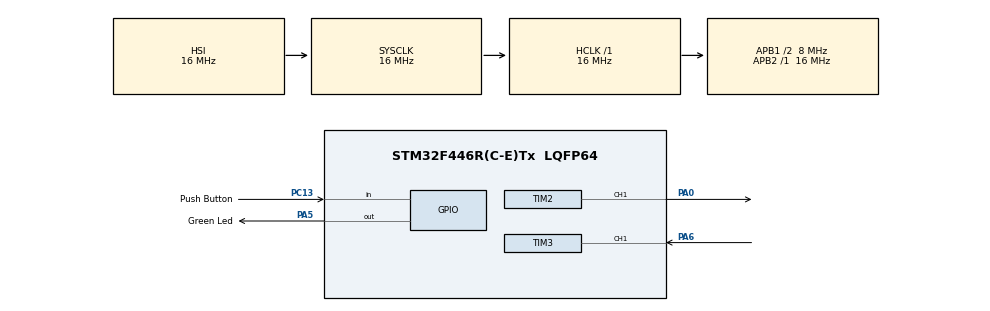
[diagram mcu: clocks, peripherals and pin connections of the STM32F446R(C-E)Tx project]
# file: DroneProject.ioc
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Mcu.Family=STM32F4
Mcu.Name=STM32F446R(C-E)Tx
Mcu.Package=LQFP64
NVIC.PriorityGroup=NVIC_PRIORITYGROUP_0
NVIC.TIM3_IRQn=true\:0\:0\:false\:false\:true\:true\:true\:true
PA0-WKUP.Signal=S_TIM2_CH1_ETR
PA5.GPIO_Label=Green Led
PA5.Signal=GPIO_Output
PA6.Signal=S_TIM3_CH1
PC13.GPIO_Label=Push Button
PC13.Signal=GPIO_Input
ProjectManager.HeapSize=0x200
ProjectManager.StackSize=0x400
ProjectManager.TargetToolchain=STM32CubeIDE
RCC.48MHZClocksFreq_Value=84000000
RCC.AHBFreq_Value=16000000
RCC.APB1CLKDivider=RCC_HCLK_DIV2
RCC.APB1Freq_Value=8000000
RCC.APB1TimFreq_Value=16000000
RCC.APB2Freq_Value=16000000
RCC.APB2TimFreq_Value=16000000
RCC.CortexFreq_Value=16000000
RCC.FLatency-AdvancedSettings=FLASH_LATENCY_0
RCC.HCLKFreq_Value=16000000
RCC.HSE_VALUE=8000000
RCC.HSI_VALUE=16000000
RCC.PLLN=336
RCC.PLLP=RCC_PLLP_DIV4
RCC.SYSCLKFreq_VALUE=16000000
RCC.USBFreq_Value=168000000
RCC.VCOOutputFreq_Value=336000000
SH.S_TIM2_CH1_ETR.0=TIM2_CH1,PWM Generation1 CH1
SH.S_TIM3_CH1.0=TIM3_CH1,PWM_Input_1
TIM2.Channel-PWM\ Generation1\ CH1=TIM_CHANNEL_1
TIM2.Period=9999
TIM2.Prescaler=32-1
VP_TIM2_VS_ClockSourceINT.Mode=Internal
VP_TIM3_VS_ClockSourceINT.Mode=Internal
board=NUCLEO-F446RE

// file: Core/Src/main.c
/* USER CODE BEGIN Header */
/**
  ******************************************************************************
  * @file           : main.c
  * @brief          : Main program body
  ******************************************************************************
  * @attention
  *
  * Copyright (c) 2024 STMicroelectronics.
  * All rights reserved.
  *
  * This software is licensed under terms that can be found in the LICENSE file
  * in the root directory of this software component.
  * If no LICENSE file comes with this software, it is provided AS-IS.
  *
  ******************************************************************************
  */
/* USER CODE END Header */
#include "main.h"

TIM_HandleTypeDef htim2;
TIM_HandleTypeDef htim3;

void SystemClock_Config(void);
static void MX_GPIO_Init(void);
static void MX_TIM2_Init(void);
static void MX_TIM3_Init(void);

/* USER CODE BEGIN 0 */
int ICValue = 0;
float duty = 0;
void HAL_TIM_IC_CaptureCallback(TIM_HandleTypeDef *htim)
{
	if(htim->Channel == HAL_TIM_ACTIVE_CHANNEL_1)
	{
		ICValue = HAL_TIM_ReadCapturedValue(htim, TIM_CHANNEL_1);
		if(ICValue != 0)
		{
			duty = float(HAL_TIM_ReadCapturedValue(htim, TIM_CHANNEL_2))/ICValue;
		}
	}
}

/* USER CODE END 0 */

int main(void)
{

  /* MCU Configuration--------------------------------------------------------*/

  /* Reset of all peripherals, Initializes the Flash interface and the Systick. */
  HAL_Init();

  /* Configure the system clock */
  SystemClock_Config();

  /* Initialize all configured peripherals */
  MX_GPIO_Init();
  MX_TIM2_Init();
  MX_TIM3_Init();
  /* USER CODE BEGIN 2 */
HAL_TIM_IC_Start_IT(&htim3, TIM_CHANNEL_1);
HAL_TIM_IC_Start(&htim3, TIM_CHANNEL_2);

HAL_TIM_PWM_Start(&htim2, TIM_CHANNEL_1);
int pulse = 0;
  /* USER CODE END 2 */

  /* Infinite loop */
  while (1)
  {

    /* USER CODE BEGIN 3 */
	  __HAL_TIM_SET_COMPARE(&htim2, TIM_CHANNEL_1, duty * 10000);
	  if(HAL_GPIO_ReadPin(Push_Button_GPIO_Port, Push_Button_Pin == SET))
	  {
		  HAL_GPIO_WritePin(Green_Led_GPIO_Port, Green_Led_Pin, SET);

	  }
	  else
	  {
		  HAL_GPIO_WritePin(Green_Led_GPIO_Port, Green_Led_Pin, RESET);
	  }

  }
  /* USER CODE END 3 */
}

void SystemClock_Config(void)
{
  RCC_OscInitTypeDef RCC_OscInitStruct = {0};
  RCC_ClkInitTypeDef RCC_ClkInitStruct = {0};

  /** Configure the main internal regulator output voltage
  */
  __HAL_RCC_PWR_CLK_ENABLE();
  __HAL_PWR_VOLTAGESCALING_CONFIG(PWR_REGULATOR_VOLTAGE_SCALE3);

  /** Initializes the RCC Oscillators according to the specified parameters
  * in the RCC_OscInitTypeDef structure.
  */
  RCC_OscInitStruct.OscillatorType = RCC_OSCILLATORTYPE_HSI;
  RCC_OscInitStruct.HSIState = RCC_HSI_ON;
  RCC_OscInitStruct.HSICalibrationValue = RCC_HSICALIBRATION_DEFAULT;
  RCC_OscInitStruct.PLL.PLLState = RCC_PLL_NONE;
  if (HAL_RCC_OscConfig(&RCC_OscInitStruct) != HAL_OK)
  {
    Error_Handler();
  }

  /** Initializes the CPU, AHB and APB buses clocks
  */
  RCC_ClkInitStruct.ClockType = RCC_CLOCKTYPE_HCLK|RCC_CLOCKTYPE_SYSCLK
                              |RCC_CLOCKTYPE_PCLK1|RCC_CLOCKTYPE_PCLK2;
  RCC_ClkInitStruct.SYSCLKSource = RCC_SYSCLKSOURCE_HSI;
  RCC_ClkInitStruct.AHBCLKDivider = RCC_SYSCLK_DIV1;
  RCC_ClkInitStruct.APB1CLKDivider = RCC_HCLK_DIV2;
  RCC_ClkInitStruct.APB2CLKDivider = RCC_HCLK_DIV1;

  if (HAL_RCC_ClockConfig(&RCC_ClkInitStruct, FLASH_LATENCY_0) != HAL_OK)
  {
    Error_Handler();
  }
}

static void MX_TIM2_Init(void)
{

  TIM_ClockConfigTypeDef sClockSourceConfig = {0};
  TIM_MasterConfigTypeDef sMasterConfig = {0};
  TIM_OC_InitTypeDef sConfigOC = {0};

  htim2.Instance = TIM2;
  htim2.Init.Prescaler = 32-1;
  htim2.Init.CounterMode = TIM_COUNTERMODE_UP;
  htim2.Init.Period = 9999;
  htim2.Init.ClockDivision = TIM_CLOCKDIVISION_DIV1;
  htim2.Init.AutoReloadPreload = TIM_AUTORELOAD_PRELOAD_DISABLE;
  if (HAL_TIM_Base_Init(&htim2) != HAL_OK)
  {
    Error_Handler();
  }
  sClockSourceConfig.ClockSource = TIM_CLOCKSOURCE_INTERNAL;
  if (HAL_TIM_ConfigClockSource(&htim2, &sClockSourceConfig) != HAL_OK)
  {
    Error_Handler();
  }
  if (HAL_TIM_PWM_Init(&htim2) != HAL_OK)
  {
    Error_Handler();
  }
  sMasterConfig.MasterOutputTrigger = TIM_TRGO_RESET;
  sMasterConfig.MasterSlaveMode = TIM_MASTERSLAVEMODE_DISABLE;
  if (HAL_TIMEx_MasterConfigSynchronization(&htim2, &sMasterConfig) != HAL_OK)
  {
    Error_Handler();
  }
  sConfigOC.OCMode = TIM_OCMODE_PWM1;
  sConfigOC.Pulse = 0;
  sConfigOC.OCPolarity = TIM_OCPOLARITY_HIGH;
  sConfigOC.OCFastMode = TIM_OCFAST_DISABLE;
  if (HAL_TIM_PWM_ConfigChannel(&htim2, &sConfigOC, TIM_CHANNEL_1) != HAL_OK)
  {
    Error_Handler();
  }
  HAL_TIM_MspPostInit(&htim2);

}

static void MX_TIM3_Init(void)
{

  TIM_ClockConfigTypeDef sClockSourceConfig = {0};
  TIM_SlaveConfigTypeDef sSlaveConfig = {0};
  TIM_IC_InitTypeDef sConfigIC = {0};
  TIM_MasterConfigTypeDef sMasterConfig = {0};

  htim3.Instance = TIM3;
  htim3.Init.Prescaler = 0;
  htim3.Init.CounterMode = TIM_COUNTERMODE_UP;
  htim3.Init.Period = 65535;
  htim3.Init.ClockDivision = TIM_CLOCKDIVISION_DIV1;
  htim3.Init.AutoReloadPreload = TIM_AUTORELOAD_PRELOAD_DISABLE;
  if (HAL_TIM_Base_Init(&htim3) != HAL_OK)
  {
    Error_Handler();
  }
  sClockSourceConfig.ClockSource = TIM_CLOCKSOURCE_INTERNAL;
  if (HAL_TIM_ConfigClockSource(&htim3, &sClockSourceConfig) != HAL_OK)
  {
    Error_Handler();
  }
  if (HAL_TIM_IC_Init(&htim3) != HAL_OK)
  {
    Error_Handler();
  }
  sSlaveConfig.SlaveMode = TIM_SLAVEMODE_RESET;
  sSlaveConfig.InputTrigger = TIM_TS_TI1FP1;
  sSlaveConfig.TriggerPolarity = TIM_INPUTCHANNELPOLARITY_RISING;
  sSlaveConfig.TriggerPrescaler = TIM_ICPSC_DIV1;
  sSlaveConfig.TriggerFilter = 0;
  if (HAL_TIM_SlaveConfigSynchro(&htim3, &sSlaveConfig) != HAL_OK)
  {
    Error_Handler();
  }
  sConfigIC.ICPolarity = TIM_INPUTCHANNELPOLARITY_RISING;
  sConfigIC.ICSelection = TIM_ICSELECTION_DIRECTTI;
  sConfigIC.ICPrescaler = TIM_ICPSC_DIV8;
  sConfigIC.ICFilter = 0;
  if (HAL_TIM_IC_ConfigChannel(&htim3, &sConfigIC, TIM_CHANNEL_1) != HAL_OK)
  {
    Error_Handler();
  }
  sConfigIC.ICPolarity = TIM_INPUTCHANNELPOLARITY_FALLING;
  sConfigIC.ICSelection = TIM_ICSELECTION_INDIRECTTI;
  if (HAL_TIM_IC_ConfigChannel(&htim3, &sConfigIC, TIM_CHANNEL_2) != HAL_OK)
  {
    Error_Handler();
  }
  sMasterConfig.MasterOutputTrigger = TIM_TRGO_RESET;
  sMasterConfig.MasterSlaveMode = TIM_MASTERSLAVEMODE_DISABLE;
  if (HAL_TIMEx_MasterConfigSynchronization(&htim3, &sMasterConfig) != HAL_OK)
  {
    Error_Handler();
  }

}

static void MX_GPIO_Init(void)
{
  GPIO_InitTypeDef GPIO_InitStruct = {0};

  /* GPIO Ports Clock Enable */
  __HAL_RCC_GPIOC_CLK_ENABLE();
  __HAL_RCC_GPIOA_CLK_ENABLE();

  /*Configure GPIO pin Output Level */
  HAL_GPIO_WritePin(Green_Led_GPIO_Port, Green_Led_Pin, GPIO_PIN_RESET);

  /*Configure GPIO pin : Push_Button_Pin */
  GPIO_InitStruct.Pin = Push_Button_Pin;
  GPIO_InitStruct.Mode = GPIO_MODE_INPUT;
  GPIO_InitStruct.Pull = GPIO_NOPULL;
  HAL_GPIO_Init(Push_Button_GPIO_Port, &GPIO_InitStruct);

  /*Configure GPIO pin : Green_Led_Pin */
  GPIO_InitStruct.Pin = Green_Led_Pin;
  GPIO_InitStruct.Mode = GPIO_MODE_OUTPUT_PP;
  GPIO_InitStruct.Pull = GPIO_NOPULL;
  GPIO_InitStruct.Speed = GPIO_SPEED_FREQ_LOW;
  HAL_GPIO_Init(Green_Led_GPIO_Port, &GPIO_InitStruct);

}

void Error_Handler(void)
{
  __disable_irq();
  while (1)
  {
  }
}
